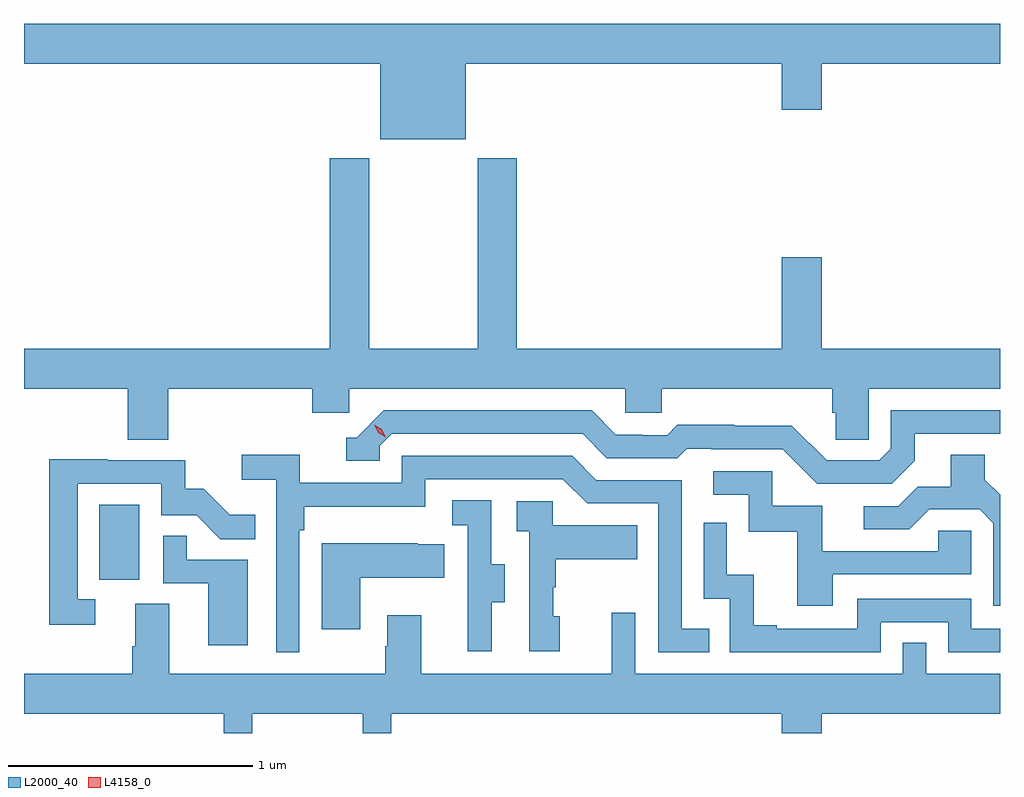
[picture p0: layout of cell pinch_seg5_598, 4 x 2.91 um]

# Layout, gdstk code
import gdstk
lib = gdstk.Library(unit=1e-6, precision=1e-09)
def R(c, l, rs):  # rectangles x0, y0, x1, y1
    for r in rs: c.add(gdstk.rectangle(r[:2], r[2:], *l))
def P(c, l, *ps):  # polygons
    for p in ps: c.add(gdstk.Polygon(p, *l))
L2000_40 = (2000, 40)
L4158_0 = (4158, 0)

pinch_seg5_598 = lib.new_cell('pinch_seg5_598')
R(pinch_seg5_598, L2000_40, [(1097.276,857.31,1097.44,857.617)])
P(pinch_seg5_598, L2000_40, [(1098.778,859.424),(1100.072,859.424),(1100.072,859.236),(1100.236,859.236),(1100.236,859.424),(1100.967,859.424),(1100.967,859.588),(1096.967,859.588),(1096.967,859.424),(1098.428,859.424),(1098.428,859.115),(1098.778,859.115)],
  [(1097.558,858.092),(1098.149,858.092),(1098.149,857.994),(1098.3,857.994),(1098.3,858.092),(1099.431,858.092),(1099.431,857.994),(1099.581,857.994),(1099.581,858.092),(1100.279,858.092),(1100.279,857.994),(1100.293,857.994),(1100.293,857.884),(1100.43,857.884),(1100.43,858.092),(1100.967,858.092),(1100.967,858.256),(1100.236,858.256),(1100.236,858.631),(1100.072,858.631),(1100.072,858.256),(1098.986,858.256),(1098.986,859.036),(1098.826,859.036),(1098.826,858.256),(1098.381,858.256),(1098.381,859.036),(1098.221,859.036),(1098.221,858.256),(1096.967,858.256),(1096.967,858.092),(1097.393,858.092),(1097.393,857.884),(1097.558,857.884)],
  [(1100.617,857.797),(1100.617,857.907),(1100.967,857.907),(1100.967,858.003),(1100.52,858.003),(1100.52,857.847),(1100.472,857.799),(1100.256,857.799),(1100.114,857.941),(1099.878,857.941),(1099.878,857.944),(1099.645,857.944),(1099.603,857.901),(1099.5,857.901),(1099.5,857.904),(1099.393,857.904),(1099.294,858.003),(1098.441,858.003),(1098.33,857.892),(1098.287,857.892),(1098.287,857.796),(1098.426,857.796),(1098.426,857.859),(1098.474,857.907),(1099.257,857.907),(1099.356,857.808),(1099.645,857.808),(1099.684,857.847),(1099.783,857.847),(1099.783,857.844),(1100.076,857.844),(1100.217,857.703),(1100.523,857.703)],
  [(1100.967,857.658),(1100.905,857.72),(1100.905,857.822),(1100.765,857.822),(1100.765,857.69),(1100.63,857.69),(1100.55,857.61),(1100.409,857.61),(1100.409,857.517),(1100.596,857.517),(1100.677,857.598),(1100.883,857.598),(1100.94,857.541),(1100.94,857.202),(1100.967,857.202)],
  [(1098.096,857.513),(1098.116,857.513),(1098.116,857.609),(1098.612,857.609),(1098.612,857.721),(1099.176,857.721),(1099.275,857.622),(1099.566,857.622),(1099.566,857.013),(1099.775,857.013),(1099.775,857.109),(1099.662,857.109),(1099.662,857.718),(1099.312,857.718),(1099.213,857.817),(1098.516,857.817),(1098.516,857.706),(1098.098,857.706),(1098.098,857.822),(1097.859,857.822),(1097.859,857.72),(1098,857.72),(1098,857.013),(1098.096,857.013)],
  [(1097.26,857.229),(1097.187,857.229),(1097.187,857.703),(1097.529,857.703),(1097.529,857.574),(1097.674,857.574),(1097.772,857.476),(1097.915,857.476),(1097.915,857.575),(1097.811,857.575),(1097.704,857.682),(1097.628,857.682),(1097.628,857.799),(1097.309,857.799),(1097.309,857.804),(1097.071,857.804),(1097.071,857.124),(1097.26,857.124)],
  [(1100.281,857.331),(1100.85,857.331),(1100.85,857.511),(1100.713,857.511),(1100.713,857.427),(1100.239,857.427),(1100.239,857.613),(1100.034,857.613),(1100.034,857.754),(1099.791,857.754),(1099.791,857.658),(1099.938,857.658),(1099.938,857.505),(1100.137,857.505),(1100.137,857.202),(1100.281,857.202)],
  [(1098.883,857.218),(1098.937,857.218),(1098.937,857.373),(1098.882,857.373),(1098.882,857.636),(1098.723,857.636),(1098.723,857.533),(1098.786,857.533),(1098.786,857.229),(1098.785,857.229),(1098.785,857.016),(1098.883,857.016)],
  [(1099.162,857.16),(1099.137,857.16),(1099.137,857.279),(1099.147,857.279),(1099.147,857.393),(1099.481,857.393),(1099.481,857.533),(1099.134,857.533),(1099.134,857.631),(1098.987,857.631),(1098.987,857.507),(1099.038,857.507),(1099.038,857.016),(1099.162,857.016)],
  [(1100.478,857.136),(1100.754,857.136),(1100.754,857.013),(1100.967,857.013),(1100.967,857.109),(1100.85,857.109),(1100.85,857.232),(1100.382,857.232),(1100.382,857.109),(1100.053,857.109),(1100.053,857.122),(1099.958,857.122),(1099.958,857.33),(1099.848,857.33),(1099.848,857.542),(1099.752,857.542),(1099.752,857.232),(1099.86,857.232),(1099.86,857.013),(1100.478,857.013)],
  [(1097.884,857.391),(1097.633,857.391),(1097.633,857.489),(1097.538,857.489),(1097.538,857.295),(1097.723,857.295),(1097.723,857.04),(1097.884,857.04)],
  [(1098.346,857.318),(1098.689,857.318),(1098.689,857.455),(1098.581,857.455),(1098.581,857.458),(1098.188,857.458),(1098.188,857.106),(1098.346,857.106)],
  [(1097.903,856.76),(1098.356,856.76),(1098.356,856.68),(1098.473,856.68),(1098.473,856.76),(1100.072,856.76),(1100.072,856.68),(1100.236,856.68),(1100.236,856.76),(1100.967,856.76),(1100.967,856.924),(1100.664,856.924),(1100.664,857.051),(1100.568,857.051),(1100.568,856.924),(1099.473,856.924),(1099.473,857.173),(1099.376,857.173),(1099.376,856.924),(1098.595,856.924),(1098.595,857.164),(1098.455,857.164),(1098.455,857.036),(1098.448,857.036),(1098.448,856.924),(1097.563,856.924),(1097.563,857.21),(1097.423,857.21),(1097.423,857.036),(1097.411,857.036),(1097.411,856.924),(1096.967,856.924),(1096.967,856.76),(1097.785,856.76),(1097.785,856.68),(1097.903,856.68)])
P(pinch_seg5_598, L4158_0, [(1098.449,857.893),(1098.418,857.912),(1098.402,857.944),(1098.402,857.945),(1098.403,857.945),(1098.433,857.926),(1098.449,857.893),(1098.449,857.893)])

lib.write_gds('pinch_seg5_598.gds')
